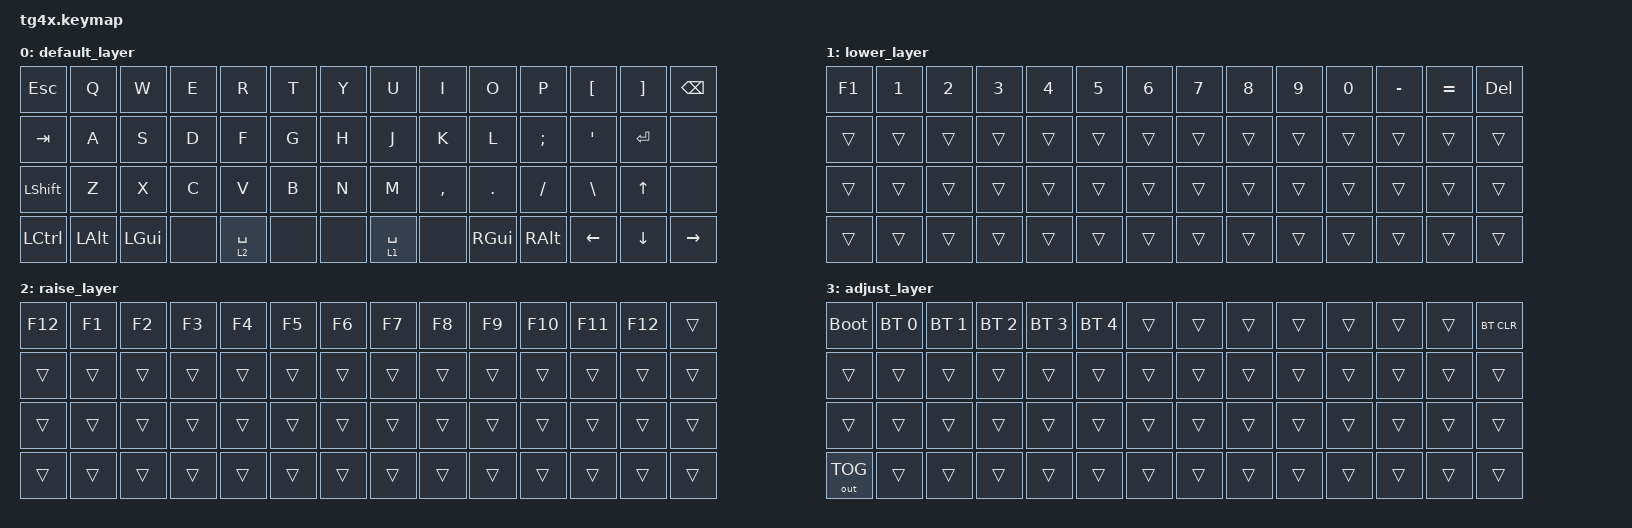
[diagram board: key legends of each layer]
#include <behaviors.dtsi>
#include <dt-bindings/zmk/keys.h>
#include <dt-bindings/zmk/bt.h>
#include <dt-bindings/zmk/outputs.h>

#define DEFAULT 0
#define LOWER   1
#define RAISE   2
#define ADJUST  3

/ {
    keymap {
        compatible = "zmk,keymap";

        default_layer {
            bindings = <
&kp ESC       &kp Q    &kp W    &kp E    &kp R       &kp T    &kp Y    &kp U       &kp I     &kp O    &kp P     &kp LBKT &kp RBKT &kp BSPC
&kp TAB       &kp A    &kp S    &kp D    &kp F       &kp G    &kp H    &kp J       &kp K     &kp L    &kp SEMI  &kp SQT  &kp RET  &none
&kp LSHIFT    &kp Z    &kp X    &kp C    &kp V       &kp B    &kp N    &kp M       &kp COMMA &kp DOT  &kp SLASH &kp BSLH &kp UP   &none
&kp LCTRL     &kp LALT &kp LGUI &none    &lt 2 SPACE &none    &none    &lt 1 SPACE &none     &kp RGUI &kp RALT  &kp LEFT &kp DOWN &kp RIGHT
            >;
        };

        lower_layer {
            bindings = <
&kp F1 &kp N1 &kp N2 &kp N3 &kp N4 &kp N5 &kp N6 &kp N7 &kp N8 &kp N9 &kp N0 &kp MINUS &kp EQUAL &kp DEL
&trans &trans &trans &trans &trans &trans &trans &trans &trans &trans &trans &trans    &trans    &trans
&trans &trans &trans &trans &trans &trans &trans &trans &trans &trans &trans &trans    &trans    &trans
&trans &trans &trans &trans &trans &trans &trans &trans &trans &trans &trans &trans    &trans    &trans
            >;
        };

        raise_layer {
            bindings = <
&kp F12 &kp F1 &kp F2 &kp F3 &kp F4 &kp F5 &kp F6 &kp F7 &kp F8 &kp F9 &kp F10 &kp F11 &kp F12 &trans
&trans  &trans &trans &trans &trans &trans &trans &trans &trans &trans &trans  &trans  &trans  &trans
&trans  &trans &trans &trans &trans &trans &trans &trans &trans &trans &trans  &trans  &trans  &trans
&trans  &trans &trans &trans &trans &trans &trans &trans &trans &trans &trans  &trans  &trans  &trans
            >;
        };

        adjust_layer {
            bindings = <
&bootloader  &bt BT_SEL 0 &bt BT_SEL 1 &bt BT_SEL 2 &bt BT_SEL 3 &bt BT_SEL 4 &trans &trans &trans &trans &trans &trans &trans &bt BT_CLR
&trans       &trans       &trans       &trans       &trans       &trans       &trans &trans &trans &trans &trans &trans &trans &trans
&trans       &trans       &trans       &trans       &trans       &trans       &trans &trans &trans &trans &trans &trans &trans &trans
&out OUT_TOG &trans       &trans       &trans       &trans       &trans       &trans &trans &trans &trans &trans &trans &trans &trans
            >;
        };
    };
};
